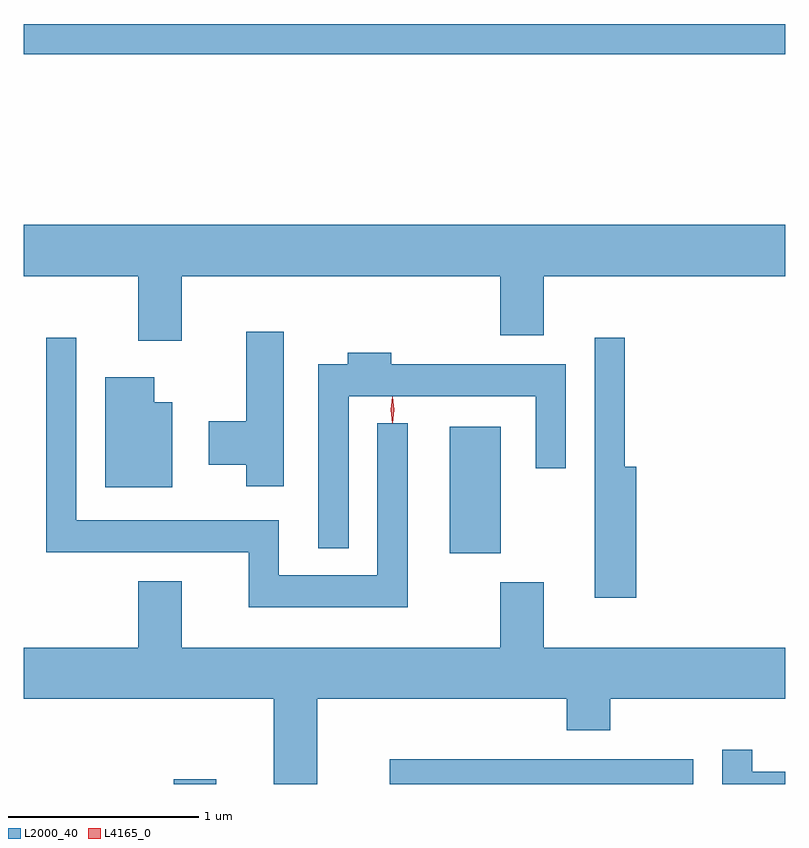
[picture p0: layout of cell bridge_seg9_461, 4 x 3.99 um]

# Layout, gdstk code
import gdstk
lib = gdstk.Library(unit=1e-6, precision=1e-09)
def R(c, l, rs):  # rectangles x0, y0, x1, y1
    for r in rs: c.add(gdstk.rectangle(r[:2], r[2:], *l))
def P(c, l, *ps):  # polygons
    for p in ps: c.add(gdstk.Polygon(p, *l))
L2000_40 = (2000, 40)
L4165_0 = (4165, 0)

bridge_seg9_461 = lib.new_cell('bridge_seg9_461')
R(bridge_seg9_461, L2000_40, [(578.626,1975.829,578.849,1975.854), (579.761,1975.829,581.354,1975.959), (580.076,1977.041,580.344,1977.704), (577.838,1979.661,581.838,1979.819)])
P(bridge_seg9_461, L2000_40, [(578.669,1978.496),(580.341,1978.496),(580.341,1978.186),(580.569,1978.186),(580.569,1978.496),(581.838,1978.496),(581.838,1978.764),(577.838,1978.764),(577.838,1978.496),(578.441,1978.496),(578.441,1978.156),(578.669,1978.156)],
  [(579.204,1978.204),(579.006,1978.204),(579.006,1977.734),(578.811,1977.734),(578.811,1977.506),(579.006,1977.506),(579.006,1977.391),(579.204,1977.391)],
  [(581.054,1977.494),(580.994,1977.494),(580.994,1978.173),(580.836,1978.173),(580.836,1976.806),(581.054,1976.806)],
  [(579.854,1977.723),(579.696,1977.723),(579.696,1976.924),(579.179,1976.924),(579.179,1977.214),(578.114,1977.214),(578.114,1978.173),(577.956,1978.173),(577.956,1977.046),(579.021,1977.046),(579.021,1976.756),(579.854,1976.756)],
  [(579.544,1977.866),(580.526,1977.866),(580.526,1977.488),(580.684,1977.488),(580.684,1978.034),(579.769,1978.034),(579.769,1978.094),(579.541,1978.094),(579.541,1978.034),(579.386,1978.034),(579.386,1977.068),(579.544,1977.068)],
  [(578.619,1977.834),(578.524,1977.834),(578.524,1977.964),(578.266,1977.964),(578.266,1977.386),(578.619,1977.386)],
  [(579.379,1976.276),(580.691,1976.276),(580.691,1976.111),(580.919,1976.111),(580.919,1976.276),(581.838,1976.276),(581.838,1976.544),(580.569,1976.544),(580.569,1976.889),(580.341,1976.889),(580.341,1976.544),(578.669,1976.544),(578.669,1976.894),(578.441,1976.894),(578.441,1976.544),(577.838,1976.544),(577.838,1976.276),(579.151,1976.276),(579.151,1975.829),(579.379,1975.829)],
  [(581.838,1975.894),(581.664,1975.894),(581.664,1976.008),(581.506,1976.008),(581.506,1975.829),(581.838,1975.829)])
P(bridge_seg9_461, L4165_0, [(579.774,1977.727),(579.765,1977.794),(579.774,1977.86),(579.775,1977.861),(579.775,1977.86),(579.785,1977.794),(579.775,1977.727),(579.775,1977.727)],
  [(579.774,1977.724),(579.765,1977.793),(579.774,1977.863),(579.775,1977.863),(579.775,1977.863),(579.785,1977.793),(579.775,1977.724),(579.775,1977.724)])

lib.write_gds('bridge_seg9_461.gds')
